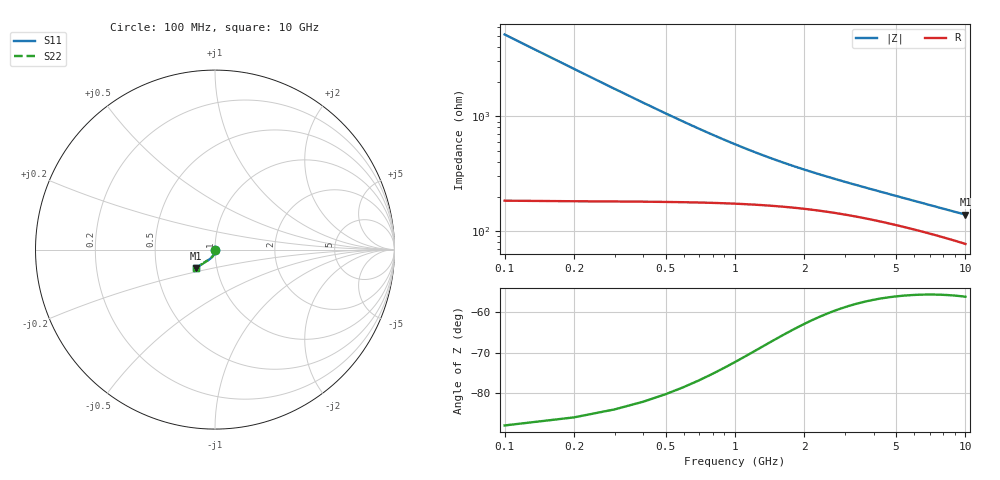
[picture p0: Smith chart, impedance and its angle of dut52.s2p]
! Touchstone file exported from HFSS 2024.1.0
!  File:  C:/UserFiles/LocalFiles/RDL_TSV_Batchsim/temp_TSV1_52_1778748758.aedt
!  Generated:  04:57:35 PM May 14, 2026
!  Design:  TSV1
!  Project:  temp_TSV1_52_1778748758
!  Setup:  Setup1
!  Solution:  Sweep
! Variables:
!  dtsv = 27.54um
!  hbump = 3um
!  htsv = 93.18um
!  lrdl = 252.1521522um
!  p = 40
!  p1 = 58.58um
!  t = 500um
!  trdl = 3um
!  wrdl = 24.89489489um
# GHz S MA R 50.000000
! Terminal data exported
! Port[1] = TSV22_T1
! Port[2] = TSV22_T2
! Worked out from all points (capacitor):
!   100 points, 100 MHz to 10 GHz, reference 50 ohm
!   read as one part in shunt: C = 308 fF near 100 MHz
!   lowest |Z| = 139 ohm at 10 GHz (marker M1)
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0.1  0.004573 -91.3  0.9997 -0.3  0.9997 -0.3  0.004573 -91.3
! Gamma 0 0 0 0
! Port Impedance 50 0 50 0
0.2  0.009109 -94.1  0.9991 -0.6  0.9991 -0.6  0.009109 -94.1
0.3  0.01358 -96.5  0.9982 -0.9  0.9982 -0.9  0.01358 -96.5
0.4  0.01795 -98.7  0.997 -1.1  0.997 -1.1  0.01795 -98.7
0.5  0.02219 -100.9  0.9955 -1.4  0.9955 -1.4  0.02219 -100.9
0.6  0.02629 -103.0  0.9937 -1.6  0.9937 -1.6  0.02629 -103.0
0.7  0.03023 -104.9  0.9918 -1.9  0.9918 -1.9  0.03023 -104.9
0.8  0.03399 -106.8  0.9898 -2.1  0.9898 -2.1  0.03399 -106.8
0.9  0.03758 -108.6  0.9877 -2.3  0.9877 -2.3  0.03758 -108.6
1.1  0.04423 -111.8  0.9834 -2.7  0.9834 -2.7  0.04423 -111.8
1.4  0.05295 -115.9  0.977 -3.1  0.977 -3.1  0.05295 -115.9
1.6  0.05803 -118.2  0.973 -3.4  0.973 -3.4  0.05803 -118.2
1.8  0.06262 -120.2  0.9692 -3.6  0.9692 -3.6  0.06262 -120.2
2.1  0.06875 -122.6  0.9639 -3.9  0.9639 -3.9  0.06875 -122.6
2.5  0.07586 -125.1  0.9577 -4.3  0.9577 -4.3  0.07586 -125.1
2.9  0.08209 -126.9  0.9523 -4.6  0.9523 -4.6  0.08209 -126.9
3.4  0.08905 -128.7  0.9463 -5.0  0.9463 -5.0  0.08905 -128.7
4.2  0.09886 -130.6  0.9382 -5.5  0.9382 -5.5  0.09886 -130.6
5.1  0.1086 -132.1  0.9304 -6.1  0.9304 -6.1  0.1086 -132.1
6.7  0.1235 -133.7  0.9191 -7.0  0.9191 -7.0  0.1235 -133.7
8.4  0.1371 -134.8  0.9092 -8.0  0.9092 -8.0  0.1371 -134.8
10  0.1486 -135.5  0.9014 -8.8  0.9014 -8.8  0.1486 -135.5
